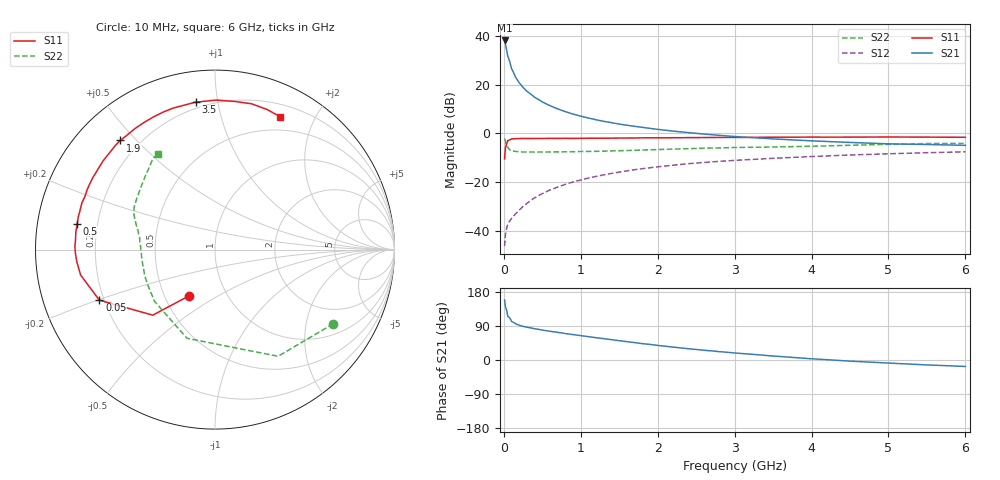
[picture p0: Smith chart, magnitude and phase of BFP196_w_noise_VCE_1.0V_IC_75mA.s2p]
! Infineon Technologies  Discrete & RF Semiconductors
! BFP196
! VCE =  1.0 V,  IC =  75 mA
! Common Emitter S-Parameters:  Jan 2017
# GHz  S  MA  R  50
!  f  S11  S21  S12  S22
! GHz  MAG  ANG  MAG  ANG  MAG  ANG  MAG  ANG
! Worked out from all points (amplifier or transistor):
!   77 points, 10 MHz to 6 GHz, reference 50 ohm
!   highest |S21| = 38.1 dB at 10 MHz (marker M1)
!   |S21| within 3 dB of that: start of sweep to 30.77 MHz
!   unconditionally stable (mu >= 1): 286.6 MHz to 3.45 GHz; 4.14 GHz to 4.939 GHz; 5.563 GHz to end of sweep (the widest 3 of 5)
!   at 130 MHz: K = 0.79, MSG = 29.3 dB, |S12| = -33.9 dB
!   at 2.2 GHz: K = 1.03, MAG = 6.0 dB, |S12| = -13.1 dB
!   at 6 GHz: K = 1.01, MAG = 0.8 dB, |S12| = -7.6 dB
!   lowest NFmin = 1.73 dB at 450 MHz
!   S11 on the Smith chart (normalised r, x): 10 MHz: 0.66, -0.37; 50 MHz: 0.18, -0.20; 500 MHz: 0.12, +0.09; 1.9 GHz: 0.13, +0.45; 3.5 GHz: 0.16, +0.86; 6 GHz: 0.33, +1.55
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0.01  0.2971 -119.5  80.25 158.1  0.0048 71.7  0.7777 -32.1
0.02  0.5038 -133.5  68.5 141.2  0.0081 60.5  0.6905 -59.4
0.05  0.7031 -156.4  38.93 115.8  0.0136 48.5  0.5182 -107.5
0.1  0.7621 -169.3  21.22 101.7  0.0178 52.7  0.4434 -139.4
0.15  0.773 -175.0  14.38 95.8  0.0219 57.1  0.4232 -152.6
0.2  0.7779 -178.5  10.86 91.8  0.0264 61.5  0.4171 -160.1
0.25  0.7808 178.7  8.703 88.8  0.0314 63.3  0.4123 -164.7
0.3  0.7791 176.6  7.263 86.5  0.0364 66.1  0.4111 -168.4
0.4  0.7814 172.8  5.481 82.5  0.0471 68.7  0.4112 -172.9
0.5  0.7811 169.4  4.387 79.0  0.0575 68.3  0.4108 -176.2
0.6  0.7832 166.4  3.676 75.8  0.0684 68.1  0.4133 -178.8
0.7  0.7831 163.7  3.157 73.0  0.0786 67.8  0.4132 179.0
0.9  0.7825 157.8  2.47 67.0  0.0998 66.0  0.4177 175.6
1.1  0.7882 152.2  2.05 61.6  0.1203 63.9  0.423 172.5
1.5  0.7957 141.6  1.541 51.0  0.1595 57.8  0.438 167.3
1.9  0.8055 131.0  1.258 41.1  0.1955 51.6  0.4568 163.1
2.1  0.8054 125.9  1.152 36.3  0.2124 48.4  0.4671 161.1
3.1  0.8218 104.7  0.837 17.0  0.2823 33.6  0.511 151.1
3.5  0.8285 97.5  0.765 10.4  0.3056 28.6  0.5219 146.3
4.1  0.832 88.0  0.687 2.0  0.337 20.9  0.5451 138.3
5.1  0.8357 74.7  0.602 -9.1  0.3822 9.1  0.5957 127.1
6  0.8248 64.0  0.564 -17.1  0.4157 -0.8  0.6187 120.9
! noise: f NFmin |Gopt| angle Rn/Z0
0.45  1.73  0.48  -171  0.06
0.9  1.89  0.51  -158  0.09
1.9  2.72  0.7  -130  0.38
2.4  3.12  0.7  -117  0.83
